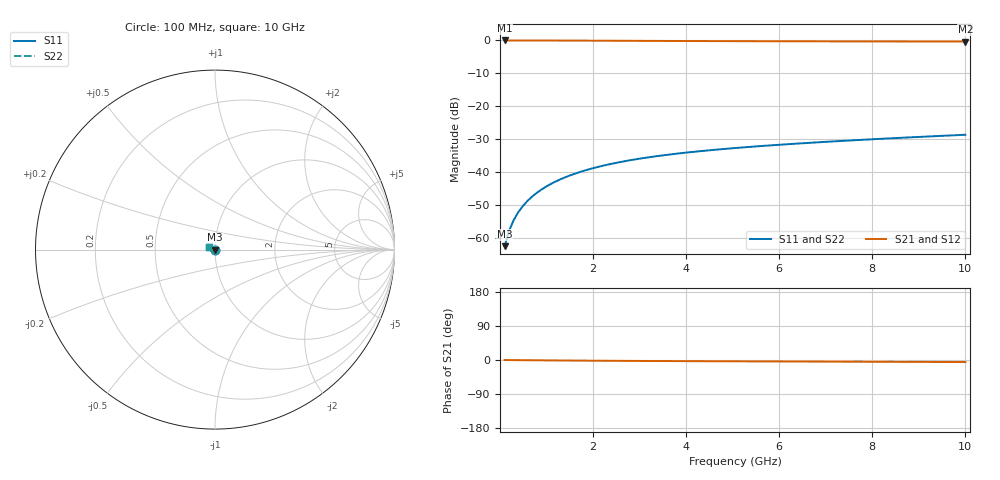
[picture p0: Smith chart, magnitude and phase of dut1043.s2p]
! Touchstone file exported from HFSS 2024.1.0
!  File:  C:/UserFiles/LocalFiles/RDL_TSV_Batchsim/temp_TSV1_1043_1780061832.aedt
!  Generated:  09:47:00 PM May 29, 2026
!  Design:  TSV1
!  Project:  temp_TSV1_1043_1780061832
!  Setup:  Setup1
!  Solution:  Sweep
! Variables:
!  dtsv = 5.64um
!  hbump = 3um
!  htsv = 81.61um
!  lrdl = 252.1521522um
!  p = 40
!  p1 = 44.24um
!  t = 500um
!  trdl = 3um
!  wrdl = 24.89489489um
# GHz S MA R 50.000000
! Terminal data exported
! Port[1] = TSV22_T1
! Port[2] = TSV22_T2
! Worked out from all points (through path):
!   100 points, 100 MHz to 10 GHz, reference 50 ohm
!   highest |S21| = 0.00 dB at 100 MHz (marker M1); lowest = -0.3 dB at 10 GHz (marker M2)
!   lowest |S11| = -62.4 dB at 100 MHz (marker M3), VSWR 1.00, Z = 50 - j0.0623 ohm
!   |S11| at or under -10 dB: start of sweep to end of sweep
!   |S22| runs from -62.4 to -28.6 dB; largest |S21 - S12| = 7e-15
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0.1  0.0007553 -55.6  0.9995 -0.1  0.9995 -0.1  0.0007553 -55.6
! Gamma 0 0 0 0
! Port Impedance 50 0 50 0
0.2  0.001313 -73.7  0.9994 -0.2  0.9994 -0.2  0.001313 -73.7
0.3  0.001909 -82.1  0.9993 -0.3  0.9993 -0.3  0.001909 -82.1
0.4  0.002513 -87.5  0.9992 -0.4  0.9992 -0.4  0.002513 -87.5
0.5  0.003119 -91.6  0.999 -0.5  0.999 -0.5  0.003119 -91.6
0.6  0.003723 -94.9  0.9987 -0.6  0.9987 -0.6  0.003723 -94.9
0.7  0.004325 -97.9  0.9985 -0.7  0.9985 -0.7  0.004325 -97.9
0.8  0.004921 -100.6  0.9981 -0.8  0.9981 -0.8  0.004921 -100.6
0.9  0.005513 -103.1  0.9978 -0.9  0.9978 -0.9  0.005513 -103.1
1.1  0.006677 -107.8  0.997 -1.1  0.997 -1.1  0.006677 -107.8
1.4  0.008368 -114.3  0.9956 -1.3  0.9956 -1.3  0.008368 -114.3
1.6  0.009453 -118.3  0.9945 -1.5  0.9945 -1.5  0.009453 -118.3
1.8  0.0105 -122.2  0.9934 -1.7  0.9934 -1.7  0.0105 -122.2
2.1  0.01201 -127.7  0.9916 -1.9  0.9916 -1.9  0.01201 -127.7
2.5  0.0139 -134.7  0.9891 -2.2  0.9891 -2.2  0.0139 -134.7
2.9  0.01564 -141.1  0.9866 -2.4  0.9866 -2.4  0.01564 -141.1
3.4  0.01765 -148.6  0.9836 -2.7  0.9836 -2.7  0.01765 -148.6
4.2  0.02054 -159.3  0.9792 -3.1  0.9792 -3.1  0.02054 -159.3
5.1  0.02344 -169.7  0.975 -3.5  0.975 -3.5  0.02344 -169.7
6.7  0.02809 175.1  0.9693 -4.1  0.9693 -4.1  0.02809 175.1
8.4  0.03273 162.5  0.9651 -4.8  0.9651 -4.8  0.03273 162.5
10  0.03703 152.9  0.9623 -5.4  0.9623 -5.4  0.03703 152.9
